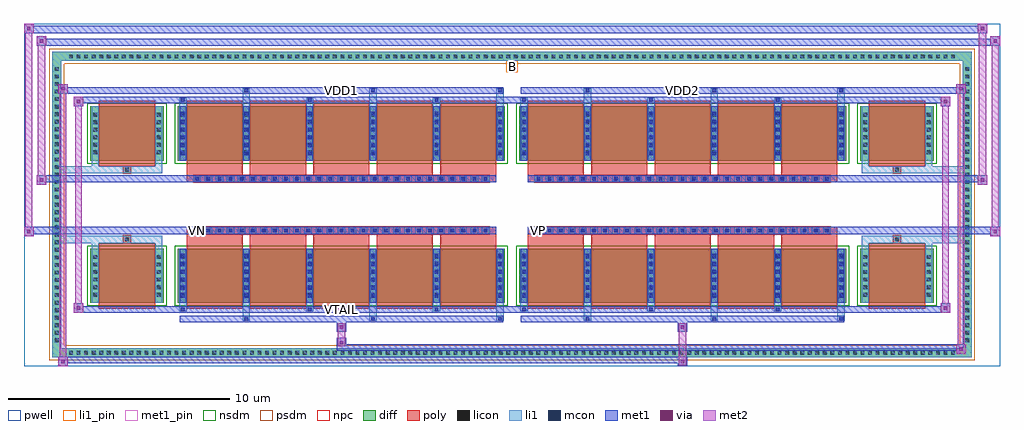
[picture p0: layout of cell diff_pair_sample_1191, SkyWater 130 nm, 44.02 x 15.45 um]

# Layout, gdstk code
import gdstk
lib = gdstk.Library(unit=1e-6, precision=5e-09)
def R(c, l, rs):  # rectangles x0, y0, x1, y1
    for r in rs: c.add(gdstk.rectangle(r[:2], r[2:], *l))
def A(c, l, x, y, w, h, nx, ny, dx, dy):  # array of equal rectangles
    R(c, l, [(x+i*dx, y+j*dy, x+i*dx+w, y+j*dy+h) for i in range(nx) for j in range(ny)])
def P(c, l, *ps):  # polygons
    for p in ps: c.add(gdstk.Polygon(p, *l))
pwell = (64, 44)
diff = (65, 20)
poly = (66, 20)
licon = (66, 44)
li1_pin = (67, 16)
li1 = (67, 20)
mcon = (67, 44)
met1_pin = (68, 16)
met1 = (68, 20)
via = (68, 44)
met2 = (69, 20)
nsdm = (93, 44)
psdm = (94, 20)
npc = (95, 20)

diff_pair_sample_1191 = lib.new_cell('diff_pair_sample_1191')
R(diff_pair_sample_1191, pwell, [(-22.01,-7.29,22.01,8.16), (-19.33,-5.48,-0.01,-0.8), (0.01,-5.48,19.33,-0.8), (-19.33,0.8,-0.01,5.48), (0.01,0.8,19.33,5.48)])
A(diff_pair_sample_1191, diff, -20.095, -6.89, 0.41, 0.41, 118, 2, 0.34, 13.37)
A(diff_pair_sample_1191, diff, -20.74, -6.325, 0.41, 0.41, 1, 37, 0, 0.34)
A(diff_pair_sample_1191, diff, 20.33, -6.325, 0.41, 0.41, 1, 37, 0, 0.34)
R(diff_pair_sample_1191, diff, [(-20.095,-6.89,20.095,-6.48), (-20.74,-6.325,-20.33,6.325), (20.33,-6.325,20.74,6.325), (-19.02,-4.435,-15.71,-1.985), (-15.07,-4.435,-0.32,-1.985), (0.32,-4.435,15.07,-1.985), (15.71,-4.435,19.02,-1.985), (-19.02,1.985,-15.71,4.435), (-15.07,1.985,-0.32,4.435), (0.32,1.985,15.07,4.435), (15.71,1.985,19.02,4.435), (-20.095,6.48,20.095,6.89)])
P(diff_pair_sample_1191, diff, [(20.74,6.89),(-20.74,6.89),(-20.74,-6.48),(-20.33,-6.48),(-20.33,6.48),(20.33,6.48),(20.33,-6.48),(-20.33,-6.48),(-20.74,-6.48),(-20.74,-6.89),(20.74,-6.89)])
A(diff_pair_sample_1191, poly, -14.68, -4.685, 2.53, 2.95, 5, 2, 2.86, 6.42)
A(diff_pair_sample_1191, poly, 0.71, -4.685, 2.53, 2.95, 5, 2, 2.86, 6.42)
A(diff_pair_sample_1191, poly, -14.68, -1.735, 2.53, 0.405, 5, 2, 2.86, 3.065)
A(diff_pair_sample_1191, poly, 0.71, -1.735, 2.53, 0.405, 5, 2, 2.86, 3.065)
A(diff_pair_sample_1191, poly, -14.36, -1.33, 0.33, 0.33, 27, 2, 0.5, 2.33)
A(diff_pair_sample_1191, poly, 1.03, -1.33, 0.33, 0.33, 27, 2, 0.5, 2.33)
R(diff_pair_sample_1191, poly, [(-18.63,-4.685,-16.1,-1.735), (16.1,-4.685,18.63,-1.735), (-17.53,-1.735,-17.2,-1.405), (-17.53,-1.735,-17.2,-1.405), (17.2,-1.735,17.53,-1.405), (17.2,-1.735,17.53,-1.405), (-14.68,-1.33,-0.71,-1), (0.71,-1.33,14.68,-1), (-14.68,1,-0.71,1.33), (0.71,1,14.68,1.33), (-17.53,1.405,-17.2,1.735), (-17.53,1.405,-17.2,1.735), (17.2,1.405,17.53,1.735), (17.2,1.405,17.53,1.735), (-18.63,1.735,-16.1,4.685), (16.1,1.735,18.63,4.685)])
A(diff_pair_sample_1191, licon, -19.975, -6.77, 0.17, 0.17, 118, 2, 0.34, 13.37)
A(diff_pair_sample_1191, licon, -20.62, -6.205, 0.17, 0.17, 1, 37, 0, 0.34)
A(diff_pair_sample_1191, licon, 20.45, -6.205, 0.17, 0.17, 1, 37, 0, 0.34)
A(diff_pair_sample_1191, licon, -18.88, -4.145, 0.17, 0.17, 1, 6, 0, 0.34)
A(diff_pair_sample_1191, licon, -16.02, -4.145, 0.17, 0.17, 1, 6, 0, 0.34)
A(diff_pair_sample_1191, licon, -14.93, -4.145, 0.17, 0.17, 6, 6, 2.86, 0.34)
A(diff_pair_sample_1191, licon, 0.46, -4.145, 0.17, 0.17, 6, 6, 2.86, 0.34)
A(diff_pair_sample_1191, licon, 15.85, -4.145, 0.17, 0.17, 1, 6, 0, 0.34)
A(diff_pair_sample_1191, licon, 18.71, -4.145, 0.17, 0.17, 1, 6, 0, 0.34)
A(diff_pair_sample_1191, licon, -14.28, -1.25, 0.17, 0.17, 27, 2, 0.5, 2.33)
A(diff_pair_sample_1191, licon, 1.11, -1.25, 0.17, 0.17, 27, 2, 0.5, 2.33)
A(diff_pair_sample_1191, licon, -18.88, 2.275, 0.17, 0.17, 1, 6, 0, 0.34)
A(diff_pair_sample_1191, licon, -16.02, 2.275, 0.17, 0.17, 1, 6, 0, 0.34)
A(diff_pair_sample_1191, licon, -14.93, 2.275, 0.17, 0.17, 6, 6, 2.86, 0.34)
A(diff_pair_sample_1191, licon, 0.46, 2.275, 0.17, 0.17, 6, 6, 2.86, 0.34)
A(diff_pair_sample_1191, licon, 15.85, 2.275, 0.17, 0.17, 1, 6, 0, 0.34)
A(diff_pair_sample_1191, licon, 18.71, 2.275, 0.17, 0.17, 1, 6, 0, 0.34)
R(diff_pair_sample_1191, licon, [(-17.45,-1.655,-17.28,-1.485), (17.28,-1.655,17.45,-1.485), (-17.45,1.485,-17.28,1.655), (17.28,1.485,17.45,1.655)])
R(diff_pair_sample_1191, li1_pin, [(-0.25,5.98,0.25,6.48)])
A(diff_pair_sample_1191, li1, -20.055, -6.85, 0.33, 0.33, 118, 2, 0.34, 13.37)
A(diff_pair_sample_1191, li1, -20.7, -6.285, 0.33, 0.33, 1, 37, 0, 0.34)
A(diff_pair_sample_1191, li1, 20.37, -6.285, 0.33, 0.33, 1, 37, 0, 0.34)
A(diff_pair_sample_1191, li1, -12.15, -5.24, 0.33, 0.805, 3, 2, 5.72, 9.675)
A(diff_pair_sample_1191, li1, -12.07, -5.24, 0.17, 0.17, 3, 2, 5.72, 10.31)
A(diff_pair_sample_1191, li1, 3.24, -5.24, 0.33, 0.805, 3, 2, 5.72, 9.675)
A(diff_pair_sample_1191, li1, 3.32, -5.24, 0.17, 0.17, 3, 2, 5.72, 10.31)
A(diff_pair_sample_1191, li1, -15.01, -4.81, 0.33, 0.375, 3, 2, 5.72, 9.245)
A(diff_pair_sample_1191, li1, -14.93, -4.81, 0.17, 0.17, 3, 2, 5.72, 9.45)
A(diff_pair_sample_1191, li1, 0.38, -4.81, 0.33, 0.375, 3, 2, 5.72, 9.245)
A(diff_pair_sample_1191, li1, 0.46, -4.81, 0.17, 0.17, 3, 2, 5.72, 9.45)
A(diff_pair_sample_1191, li1, -15.01, -4.435, 0.33, 2.45, 6, 2, 2.86, 6.42)
A(diff_pair_sample_1191, li1, 0.38, -4.435, 0.33, 2.45, 6, 2, 2.86, 6.42)
A(diff_pair_sample_1191, li1, -18.96, -4.225, 0.33, 0.33, 1, 6, 0, 0.34)
A(diff_pair_sample_1191, li1, -16.1, -4.225, 0.33, 0.33, 1, 6, 0, 0.34)
A(diff_pair_sample_1191, li1, -15.01, -4.225, 0.33, 0.33, 6, 6, 2.86, 0.34)
A(diff_pair_sample_1191, li1, 0.38, -4.225, 0.33, 0.33, 6, 6, 2.86, 0.34)
A(diff_pair_sample_1191, li1, 15.77, -4.225, 0.33, 0.33, 1, 6, 0, 0.34)
A(diff_pair_sample_1191, li1, 18.63, -4.225, 0.33, 0.33, 1, 6, 0, 0.34)
A(diff_pair_sample_1191, li1, -14.93, -4.195, 0.17, 0.17, 6, 6, 2.86, 0.36)
A(diff_pair_sample_1191, li1, -14.93, -4.195, 0.17, 1.97, 6, 2, 2.86, 6.42)
A(diff_pair_sample_1191, li1, 0.46, -4.195, 0.17, 0.17, 6, 6, 2.86, 0.36)
A(diff_pair_sample_1191, li1, 0.46, -4.195, 0.17, 1.97, 6, 2, 2.86, 6.42)
A(diff_pair_sample_1191, li1, -14.36, -1.33, 0.33, 0.33, 27, 2, 0.5, 2.33)
A(diff_pair_sample_1191, li1, 1.03, -1.33, 0.33, 0.33, 27, 2, 0.5, 2.33)
A(diff_pair_sample_1191, li1, -18.96, 2.195, 0.33, 0.33, 1, 6, 0, 0.34)
A(diff_pair_sample_1191, li1, -16.1, 2.195, 0.33, 0.33, 1, 6, 0, 0.34)
A(diff_pair_sample_1191, li1, -15.01, 2.195, 0.33, 0.33, 6, 6, 2.86, 0.34)
A(diff_pair_sample_1191, li1, 0.38, 2.195, 0.33, 0.33, 6, 6, 2.86, 0.34)
A(diff_pair_sample_1191, li1, 15.77, 2.195, 0.33, 0.33, 1, 6, 0, 0.34)
A(diff_pair_sample_1191, li1, 18.63, 2.195, 0.33, 0.33, 1, 6, 0, 0.34)
A(diff_pair_sample_1191, li1, -14.93, 2.225, 0.17, 0.17, 6, 6, 2.86, 0.36)
A(diff_pair_sample_1191, li1, 0.46, 2.225, 0.17, 0.17, 6, 6, 2.86, 0.36)
R(diff_pair_sample_1191, li1, [(-20.74,-6.89,-20.33,-6.48), (-20.74,-6.89,-20.33,-6.48), (-20.33,-6.89,20.33,-6.48), (20.33,-6.89,20.74,-6.48), (20.33,-6.89,20.74,-6.48), (-20.74,-6.48,-20.33,6.48), (20.33,-6.48,20.74,6.48), (-18.96,-4.435,-18.63,-1.985), (-16.1,-4.435,-15.77,-1.985), (15.77,-4.435,16.1,-1.985), (18.63,-4.435,18.96,-1.985), (-18.96,-1.985,-18.63,-1.405), (-16.1,-1.985,-15.77,-1.405), (15.77,-1.985,16.1,-1.405), (18.63,-1.985,18.96,-1.405), (-20.74,-1.735,-17.53,-1.405), (-18.96,-1.735,-17.53,-1.405), (-17.53,-1.735,-17.2,-1.405), (-17.2,-1.735,-15.77,-1.405), (15.77,-1.735,17.2,-1.405), (17.2,-1.735,17.53,-1.405), (17.2,-1.735,20.74,-1.405), (17.53,-1.735,18.96,-1.405), (-20.74,1.405,-17.53,1.735), (-18.96,1.405,-17.53,1.735), (-18.96,1.405,-18.63,1.985), (-17.53,1.405,-17.2,1.735), (-17.2,1.405,-15.77,1.735), (-16.1,1.405,-15.77,1.985), (15.77,1.405,17.2,1.735), (15.77,1.405,16.1,1.985), (17.2,1.405,17.53,1.735), (17.2,1.405,20.74,1.735), (17.53,1.405,18.96,1.735), (18.63,1.405,18.96,1.985), (-18.96,1.985,-18.63,4.435), (-16.1,1.985,-15.77,4.435), (15.77,1.985,16.1,4.435), (18.63,1.985,18.96,4.435), (-20.74,6.48,-20.33,6.89), (-20.74,6.48,-20.33,6.89), (-20.33,6.48,20.33,6.89), (20.33,6.48,20.74,6.89), (20.33,6.48,20.74,6.89)])
A(diff_pair_sample_1191, mcon, -12.07, -5.24, 0.17, 0.17, 3, 2, 5.72, 10.31)
A(diff_pair_sample_1191, mcon, 3.32, -5.24, 0.17, 0.17, 3, 2, 5.72, 10.31)
A(diff_pair_sample_1191, mcon, -14.93, -4.81, 0.17, 0.17, 3, 2, 5.72, 9.45)
A(diff_pair_sample_1191, mcon, 0.46, -4.81, 0.17, 0.17, 3, 2, 5.72, 9.45)
A(diff_pair_sample_1191, mcon, -14.93, -4.195, 0.17, 0.17, 6, 6, 2.86, 0.36)
A(diff_pair_sample_1191, mcon, 0.46, -4.195, 0.17, 0.17, 6, 6, 2.86, 0.36)
A(diff_pair_sample_1191, mcon, -14.28, -1.25, 0.17, 0.17, 27, 2, 0.5, 2.33)
A(diff_pair_sample_1191, mcon, 1.11, -1.25, 0.17, 0.17, 27, 2, 0.5, 2.33)
A(diff_pair_sample_1191, mcon, -14.93, 2.225, 0.17, 0.17, 6, 6, 2.86, 0.36)
A(diff_pair_sample_1191, mcon, 0.46, 2.225, 0.17, 0.17, 6, 6, 2.86, 0.36)
R(diff_pair_sample_1191, met1_pin, [(-7.83,-4.85,-7.56,-4.58), (-14.33,-1.29,-14.06,-1.02), (1.06,-1.29,1.33,-1.02), (-7.83,5.03,-7.56,5.3), (7.56,5.03,7.83,5.3)])
A(diff_pair_sample_1191, met1, -12.13, -5.3, 0.29, 0.29, 3, 2, 5.72, 10.31)
A(diff_pair_sample_1191, met1, 3.26, -5.3, 0.29, 0.29, 3, 2, 5.72, 10.31)
A(diff_pair_sample_1191, met1, -14.99, -4.87, 0.29, 0.29, 3, 2, 5.72, 9.45)
A(diff_pair_sample_1191, met1, 0.4, -4.87, 0.29, 0.29, 3, 2, 5.72, 9.45)
A(diff_pair_sample_1191, met1, -14.99, -4.435, 0.29, 2.45, 6, 2, 2.86, 6.42)
A(diff_pair_sample_1191, met1, 0.4, -4.435, 0.29, 2.45, 6, 2, 2.86, 6.42)
A(diff_pair_sample_1191, met1, -14.99, -4.255, 0.29, 0.29, 6, 6, 2.86, 0.36)
A(diff_pair_sample_1191, met1, 0.4, -4.255, 0.29, 0.29, 6, 6, 2.86, 0.36)
A(diff_pair_sample_1191, met1, -14.34, -1.31, 0.29, 0.29, 27, 2, 0.5, 2.33)
A(diff_pair_sample_1191, met1, 1.05, -1.31, 0.29, 0.29, 27, 2, 0.5, 2.33)
A(diff_pair_sample_1191, met1, -14.99, 2.165, 0.29, 0.29, 6, 6, 2.86, 0.36)
A(diff_pair_sample_1191, met1, 0.4, 2.165, 0.29, 0.29, 6, 6, 2.86, 0.36)
R(diff_pair_sample_1191, met1, [(-20.47,-7.29,-20.04,-6.86), (7.48,-7.29,7.91,-6.86), (-20.47,-7.15,7.91,-6.86), (20.04,-6.72,20.47,-6.29), (-7.91,-6.58,20.47,-6.29), (-7.91,-6.44,-7.48,-6.01), (-7.91,-5.73,-7.48,-5.3), (7.48,-5.73,7.91,-5.3), (-14.99,-5.3,-0.4,-5.01), (0.4,-5.3,14.99,-5.01), (-19.76,-4.87,-19.33,-4.44), (-19.76,-4.87,-14.99,-4.58), (-14.99,-4.87,-0.4,-4.58), (-0.4,-4.87,0.4,-4.58), (0.4,-4.87,14.99,-4.58), (14.99,-4.87,19.76,-4.58), (19.33,-4.87,19.76,-4.44), (-22.01,-1.43,-21.58,-1), (21.58,-1.43,22.01,-1), (-22.01,-1.33,-0.71,-1), (-14.68,-1.33,-0.71,-1), (0.71,-1.33,14.68,-1), (0.71,-1.33,22.01,-1), (-21.44,0.9,-21.01,1.33), (21.01,0.9,21.44,1.33), (-21.44,1,-14.68,1.33), (-14.68,1,-0.71,1.33), (0.71,1,14.68,1.33), (14.68,1,21.44,1.33), (-19.76,4.44,-19.33,4.87), (19.33,4.44,19.76,4.87), (-19.76,4.58,-14.99,4.87), (-14.99,4.58,-0.4,4.87), (-0.4,4.58,0.4,4.87), (0.4,4.58,14.99,4.87), (14.99,4.58,19.76,4.87), (-20.47,5.01,-20.04,5.44), (-20.47,5.01,-14.99,5.3), (-14.99,5.01,-0.4,5.3), (0.4,5.01,14.99,5.3), (14.99,5.01,20.47,5.3), (20.04,5.01,20.47,5.44), (-21.44,7.16,-21.01,7.59), (-21.44,7.16,-19.33,7.49), (-19.33,7.16,19.33,7.49), (19.33,7.16,22.01,7.49), (21.58,7.16,22.01,7.59), (-22.01,7.73,-21.58,8.16), (-22.01,7.73,-19.33,8.06), (-19.33,7.73,19.33,8.06), (19.33,7.73,21.44,8.06), (21.01,7.73,21.44,8.16)])
R(diff_pair_sample_1191, via, [(-20.33,-7.15,-20.18,-7), (7.62,-7.15,7.77,-7), (20.18,-6.58,20.33,-6.43), (-7.77,-6.3,-7.62,-6.15), (-7.77,-5.59,-7.62,-5.44), (7.62,-5.59,7.77,-5.44), (-19.62,-4.73,-19.47,-4.58), (19.47,-4.73,19.62,-4.58), (-21.87,-1.29,-21.72,-1.14), (21.72,-1.29,21.87,-1.14), (-21.3,1.04,-21.15,1.19), (21.15,1.04,21.3,1.19), (-19.62,4.58,-19.47,4.73), (19.47,4.58,19.62,4.73), (-20.33,5.15,-20.18,5.3), (20.18,5.15,20.33,5.3), (-21.3,7.3,-21.15,7.45), (21.72,7.3,21.87,7.45), (-21.87,7.87,-21.72,8.02), (21.15,7.87,21.3,8.02)])
R(diff_pair_sample_1191, met2, [(-20.47,-7.29,-20.04,-6.86), (-20.4,-7.29,-20.11,5.44), (-20.11,-7.29,-20.04,-6.86), (-20.42,-7.24,-20.09,-6.91), (7.53,-7.24,7.86,-6.91), (7.53,-6.91,7.86,-5.68), (20.04,-6.72,20.47,-6.29), (20.11,-6.72,20.4,5.44), (20.4,-6.72,20.47,-6.29), (20.09,-6.67,20.42,-6.34), (-7.86,-6.39,-7.53,-6.06), (-7.86,-6.06,-7.53,-5.68), (-7.86,-5.68,-7.53,-5.35), (7.53,-5.68,7.86,-5.35), (-19.76,-4.87,-19.33,-4.44), (-19.69,-4.87,-19.4,4.87), (-19.4,-4.87,-19.33,-4.44), (19.33,-4.87,19.76,-4.44), (19.4,-4.87,19.69,4.87), (19.69,-4.87,19.76,-4.44), (-19.71,-4.82,-19.38,-4.49), (19.38,-4.82,19.71,-4.49), (-22.01,-1.43,-21.58,-1), (-21.96,-1.43,-21.63,8.16), (-21.63,-1.43,-21.58,-1), (21.58,-1.43,22.01,-1), (21.63,-1.43,21.96,7.59), (21.96,-1.43,22.01,-1), (-21.96,-1.38,-21.63,-1.05), (21.63,-1.38,21.96,-1.05), (-21.44,0.9,-21.01,1.33), (-21.39,0.9,-21.06,7.59), (-21.06,0.9,-21.01,1.33), (21.01,0.9,21.44,1.33), (21.06,0.9,21.39,8.16), (21.39,0.9,21.44,1.33), (-21.39,0.95,-21.06,1.28), (21.06,0.95,21.39,1.28), (-19.76,4.44,-19.33,4.87), (-19.4,4.44,-19.33,4.87), (19.33,4.44,19.76,4.87), (19.69,4.44,19.76,4.87), (-19.71,4.49,-19.38,4.82), (19.38,4.49,19.71,4.82), (-20.47,5.01,-20.04,5.44), (-20.11,5.01,-20.04,5.44), (20.04,5.01,20.47,5.44), (20.4,5.01,20.47,5.44), (-20.42,5.06,-20.09,5.39), (20.09,5.06,20.42,5.39), (-21.44,7.16,-21.01,7.59), (-21.06,7.16,-21.01,7.59), (21.58,7.16,22.01,7.59), (21.96,7.16,22.01,7.59), (-21.39,7.21,-21.06,7.54), (21.63,7.21,21.96,7.54), (-22.01,7.73,-21.58,8.16), (-21.63,7.73,-21.58,8.16), (21.01,7.73,21.44,8.16), (21.39,7.73,21.44,8.16), (-21.96,7.78,-21.63,8.11), (21.06,7.78,21.39,8.11)])
R(diff_pair_sample_1191, nsdm, [(-19.15,-4.565,-15.58,-1.855), (-15.2,-4.565,-0.19,-1.855), (0.19,-4.565,15.2,-1.855), (15.58,-4.565,19.15,-1.855), (-19.15,1.855,-15.58,4.565), (-15.2,1.855,-0.19,4.565), (0.19,1.855,15.2,4.565), (15.58,1.855,19.15,4.565)])
P(diff_pair_sample_1191, psdm, [(20.87,7.02),(-20.87,7.02),(-20.87,-6.35),(-20.2,-6.35),(-20.2,6.35),(20.2,6.35),(20.2,-6.35),(-20.2,-6.35),(-20.87,-6.35),(-20.87,-7.02),(20.87,-7.02)])
A(diff_pair_sample_1191, npc, -14.38, -1.35, 0.37, 0.37, 27, 2, 0.5, 2.33)
A(diff_pair_sample_1191, npc, 1.01, -1.35, 0.37, 0.37, 27, 2, 0.5, 2.33)
R(diff_pair_sample_1191, npc, [(-17.55,-1.755,-17.18,-1.385), (17.18,-1.755,17.55,-1.385), (-14.38,-1.35,-13.51,-0.98), (-14.38,-1.35,-13.51,-0.98), (-13.88,-1.35,-13.01,-0.98), (-13.88,-1.35,-13.01,-0.98), (-13.38,-1.35,-12.51,-0.98), (-13.38,-1.35,-12.51,-0.98), (-12.88,-1.35,-12.01,-0.98), (-12.88,-1.35,-12.01,-0.98), (-12.38,-1.35,-11.51,-0.98), (-12.38,-1.35,-11.51,-0.98), (-11.88,-1.35,-11.01,-0.98), (-11.88,-1.35,-11.01,-0.98), (-11.38,-1.35,-10.51,-0.98), (-11.38,-1.35,-10.51,-0.98), (-10.88,-1.35,-10.01,-0.98), (-10.88,-1.35,-10.01,-0.98), (-10.38,-1.35,-9.51,-0.98), (-10.38,-1.35,-9.51,-0.98), (-9.88,-1.35,-9.01,-0.98), (-9.88,-1.35,-9.01,-0.98), (-9.38,-1.35,-8.51,-0.98), (-9.38,-1.35,-8.51,-0.98), (-8.88,-1.35,-8.01,-0.98), (-8.88,-1.35,-8.01,-0.98), (-8.38,-1.35,-7.51,-0.98), (-8.38,-1.35,-7.51,-0.98), (-7.88,-1.35,-7.01,-0.98), (-7.88,-1.35,-7.01,-0.98), (-7.38,-1.35,-6.51,-0.98), (-7.38,-1.35,-6.51,-0.98), (-6.88,-1.35,-6.01,-0.98), (-6.88,-1.35,-6.01,-0.98), (-6.38,-1.35,-5.51,-0.98), (-6.38,-1.35,-5.51,-0.98), (-5.88,-1.35,-5.01,-0.98), (-5.88,-1.35,-5.01,-0.98), (-5.38,-1.35,-4.51,-0.98), (-5.38,-1.35,-4.51,-0.98), (-4.88,-1.35,-4.01,-0.98), (-4.88,-1.35,-4.01,-0.98), (-4.38,-1.35,-3.51,-0.98), (-4.38,-1.35,-3.51,-0.98), (-3.88,-1.35,-3.01,-0.98), (-3.88,-1.35,-3.01,-0.98), (-3.38,-1.35,-2.51,-0.98), (-3.38,-1.35,-2.51,-0.98), (-2.88,-1.35,-2.01,-0.98), (-2.88,-1.35,-2.01,-0.98), (-2.38,-1.35,-1.51,-0.98), (-2.38,-1.35,-1.51,-0.98), (-1.88,-1.35,-1.01,-0.98), (-1.88,-1.35,-1.01,-0.98), (1.01,-1.35,1.88,-0.98), (1.01,-1.35,1.88,-0.98), (1.51,-1.35,2.38,-0.98), (1.51,-1.35,2.38,-0.98), (2.01,-1.35,2.88,-0.98), (2.01,-1.35,2.88,-0.98), (2.51,-1.35,3.38,-0.98), (2.51,-1.35,3.38,-0.98), (3.01,-1.35,3.88,-0.98), (3.01,-1.35,3.88,-0.98), (3.51,-1.35,4.38,-0.98), (3.51,-1.35,4.38,-0.98), (4.01,-1.35,4.88,-0.98), (4.01,-1.35,4.88,-0.98), (4.51,-1.35,5.38,-0.98), (4.51,-1.35,5.38,-0.98), (5.01,-1.35,5.88,-0.98), (5.01,-1.35,5.88,-0.98), (5.51,-1.35,6.38,-0.98), (5.51,-1.35,6.38,-0.98), (6.01,-1.35,6.88,-0.98), (6.01,-1.35,6.88,-0.98), (6.51,-1.35,7.38,-0.98), (6.51,-1.35,7.38,-0.98), (7.01,-1.35,7.88,-0.98), (7.01,-1.35,7.88,-0.98), (7.51,-1.35,8.38,-0.98), (7.51,-1.35,8.38,-0.98), (8.01,-1.35,8.88,-0.98), (8.01,-1.35,8.88,-0.98), (8.51,-1.35,9.38,-0.98), (8.51,-1.35,9.38,-0.98), (9.01,-1.35,9.88,-0.98), (9.01,-1.35,9.88,-0.98), (9.51,-1.35,10.38,-0.98), (9.51,-1.35,10.38,-0.98), (10.01,-1.35,10.88,-0.98), (10.01,-1.35,10.88,-0.98), (10.51,-1.35,11.38,-0.98), (10.51,-1.35,11.38,-0.98), (11.01,-1.35,11.88,-0.98), (11.01,-1.35,11.88,-0.98), (11.51,-1.35,12.38,-0.98), (11.51,-1.35,12.38,-0.98), (12.01,-1.35,12.88,-0.98), (12.01,-1.35,12.88,-0.98), (12.51,-1.35,13.38,-0.98), (12.51,-1.35,13.38,-0.98), (13.01,-1.35,13.88,-0.98), (13.01,-1.35,13.88,-0.98), (13.51,-1.35,14.38,-0.98), (13.51,-1.35,14.38,-0.98), (-14.38,0.98,-13.51,1.35), (-14.38,0.98,-13.51,1.35), (-13.88,0.98,-13.01,1.35), (-13.88,0.98,-13.01,1.35), (-13.38,0.98,-12.51,1.35), (-13.38,0.98,-12.51,1.35), (-12.88,0.98,-12.01,1.35), (-12.88,0.98,-12.01,1.35), (-12.38,0.98,-11.51,1.35), (-12.38,0.98,-11.51,1.35), (-11.88,0.98,-11.01,1.35), (-11.88,0.98,-11.01,1.35), (-11.38,0.98,-10.51,1.35), (-11.38,0.98,-10.51,1.35), (-10.88,0.98,-10.01,1.35), (-10.88,0.98,-10.01,1.35), (-10.38,0.98,-9.51,1.35), (-10.38,0.98,-9.51,1.35), (-9.88,0.98,-9.01,1.35), (-9.88,0.98,-9.01,1.35), (-9.38,0.98,-8.51,1.35), (-9.38,0.98,-8.51,1.35), (-8.88,0.98,-8.01,1.35), (-8.88,0.98,-8.01,1.35), (-8.38,0.98,-7.51,1.35), (-8.38,0.98,-7.51,1.35), (-7.88,0.98,-7.01,1.35), (-7.88,0.98,-7.01,1.35), (-7.38,0.98,-6.51,1.35), (-7.38,0.98,-6.51,1.35), (-6.88,0.98,-6.01,1.35), (-6.88,0.98,-6.01,1.35), (-6.38,0.98,-5.51,1.35), (-6.38,0.98,-5.51,1.35), (-5.88,0.98,-5.01,1.35), (-5.88,0.98,-5.01,1.35), (-5.38,0.98,-4.51,1.35), (-5.38,0.98,-4.51,1.35), (-4.88,0.98,-4.01,1.35), (-4.88,0.98,-4.01,1.35), (-4.38,0.98,-3.51,1.35), (-4.38,0.98,-3.51,1.35), (-3.88,0.98,-3.01,1.35), (-3.88,0.98,-3.01,1.35), (-3.38,0.98,-2.51,1.35), (-3.38,0.98,-2.51,1.35), (-2.88,0.98,-2.01,1.35), (-2.88,0.98,-2.01,1.35), (-2.38,0.98,-1.51,1.35), (-2.38,0.98,-1.51,1.35), (-1.88,0.98,-1.01,1.35), (-1.88,0.98,-1.01,1.35), (1.01,0.98,1.88,1.35), (1.01,0.98,1.88,1.35), (1.51,0.98,2.38,1.35), (1.51,0.98,2.38,1.35), (2.01,0.98,2.88,1.35), (2.01,0.98,2.88,1.35), (2.51,0.98,3.38,1.35), (2.51,0.98,3.38,1.35), (3.01,0.98,3.88,1.35), (3.01,0.98,3.88,1.35), (3.51,0.98,4.38,1.35), (3.51,0.98,4.38,1.35), (4.01,0.98,4.88,1.35), (4.01,0.98,4.88,1.35), (4.51,0.98,5.38,1.35), (4.51,0.98,5.38,1.35), (5.01,0.98,5.88,1.35), (5.01,0.98,5.88,1.35), (5.51,0.98,6.38,1.35), (5.51,0.98,6.38,1.35), (6.01,0.98,6.88,1.35), (6.01,0.98,6.88,1.35), (6.51,0.98,7.38,1.35), (6.51,0.98,7.38,1.35), (7.01,0.98,7.88,1.35), (7.01,0.98,7.88,1.35), (7.51,0.98,8.38,1.35), (7.51,0.98,8.38,1.35), (8.01,0.98,8.88,1.35), (8.01,0.98,8.88,1.35), (8.51,0.98,9.38,1.35), (8.51,0.98,9.38,1.35), (9.01,0.98,9.88,1.35), (9.01,0.98,9.88,1.35), (9.51,0.98,10.38,1.35), (9.51,0.98,10.38,1.35), (10.01,0.98,10.88,1.35), (10.01,0.98,10.88,1.35), (10.51,0.98,11.38,1.35), (10.51,0.98,11.38,1.35), (11.01,0.98,11.88,1.35), (11.01,0.98,11.88,1.35), (11.51,0.98,12.38,1.35), (11.51,0.98,12.38,1.35), (12.01,0.98,12.88,1.35), (12.01,0.98,12.88,1.35), (12.51,0.98,13.38,1.35), (12.51,0.98,13.38,1.35), (13.01,0.98,13.88,1.35), (13.01,0.98,13.88,1.35), (13.51,0.98,14.38,1.35), (13.51,0.98,14.38,1.35), (-17.55,1.385,-17.18,1.755), (17.18,1.385,17.55,1.755)])
diff_pair_sample_1191.add(gdstk.Label('VTAIL', (-7.695,-4.715), layer=68, texttype=5))
diff_pair_sample_1191.add(gdstk.Label('VN', (-14.195,-1.155), layer=68, texttype=5))
diff_pair_sample_1191.add(gdstk.Label('VP', (1.195,-1.155), layer=68, texttype=5))
diff_pair_sample_1191.add(gdstk.Label('B', (0,6.23), layer=67, texttype=5))
diff_pair_sample_1191.add(gdstk.Label('VDD2', (7.695,5.165), layer=68, texttype=5))
diff_pair_sample_1191.add(gdstk.Label('VDD1', (-7.695,5.165), layer=68, texttype=5))

lib.write_gds('diff_pair_sample_1191.gds')
